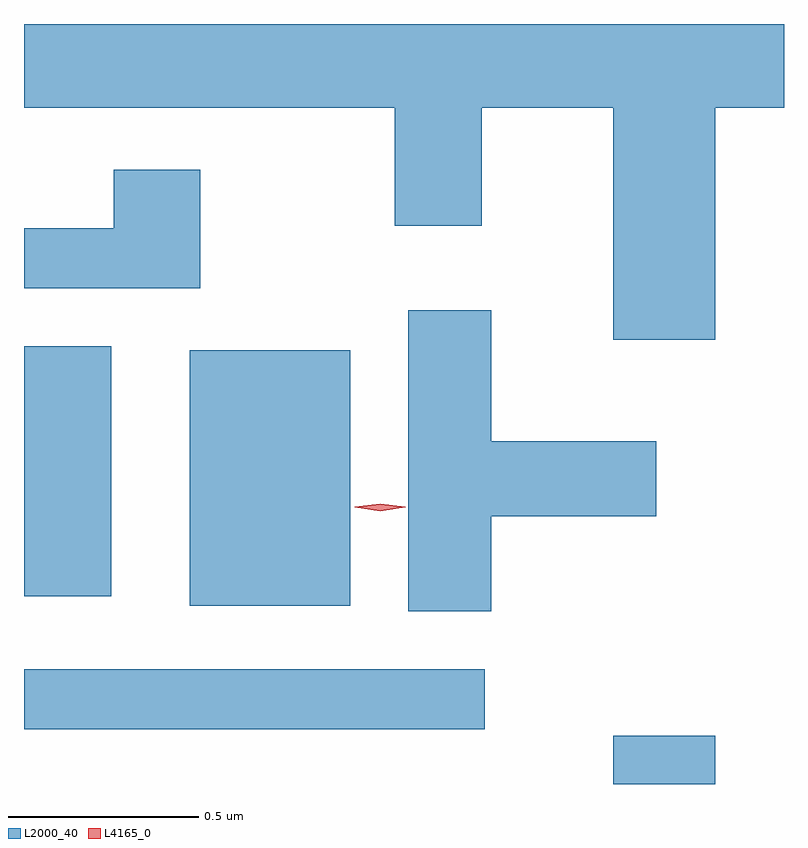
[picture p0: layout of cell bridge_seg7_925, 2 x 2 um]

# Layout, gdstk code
import gdstk
lib = gdstk.Library(unit=1e-6, precision=1e-09)
def R(c, l, rs):  # rectangles x0, y0, x1, y1
    for r in rs: c.add(gdstk.rectangle(r[:2], r[2:], *l))
def P(c, l, *ps):  # polygons
    for p in ps: c.add(gdstk.Polygon(p, *l))
L2000_40 = (2000, 40)
L4165_0 = (4165, 0)

bridge_seg7_925 = lib.new_cell('bridge_seg7_925')
R(bridge_seg7_925, L2000_40, [(534.756,1694.777,535.024,1694.904), (533.205,1694.921,534.418,1695.079), (533.641,1695.246,534.064,1695.919), (533.205,1695.271,533.434,1695.929)])
P(bridge_seg7_925, L2000_40, [(535.024,1696.556),(535.205,1696.556),(535.205,1696.777),(533.205,1696.777),(533.205,1696.556),(534.181,1696.556),(534.181,1696.246),(534.409,1696.246),(534.409,1696.556),(534.756,1696.556),(534.756,1695.946),(535.024,1695.946)],
  [(533.669,1696.394),(533.441,1696.394),(533.441,1696.239),(533.205,1696.239),(533.205,1696.081),(533.669,1696.081)],
  [(534.434,1695.481),(534.869,1695.481),(534.869,1695.679),(534.434,1695.679),(534.434,1696.024),(534.216,1696.024),(534.216,1695.231),(534.434,1695.231)])
P(bridge_seg7_925, L4165_0, [(534.142,1695.495),(534.076,1695.505),(534.075,1695.505),(534.076,1695.506),(534.142,1695.515),(534.208,1695.506),(534.209,1695.505),(534.208,1695.505)])

lib.write_gds('bridge_seg7_925.gds')
